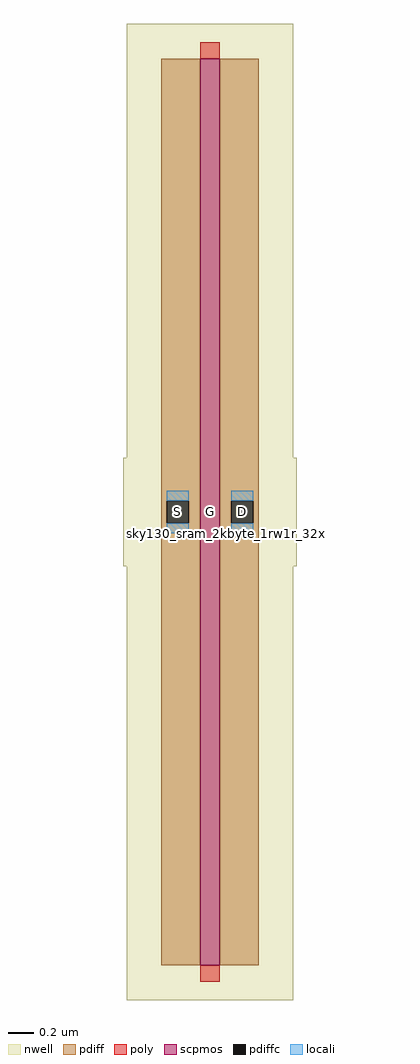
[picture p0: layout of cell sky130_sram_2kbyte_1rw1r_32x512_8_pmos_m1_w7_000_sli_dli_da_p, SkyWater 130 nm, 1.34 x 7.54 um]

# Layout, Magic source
magic
tech sky130A
magscale 1 2
<< nwell >>
rect -54 784 204 1454
rect -59 616 209 784
rect -54 -54 204 616
<< scpmos >>
rect 60 0 90 1400
<< pdiff >>
rect 0 717 60 1400
rect 0 683 8 717
rect 42 683 60 717
rect 0 0 60 683
rect 90 717 150 1400
rect 90 683 108 717
rect 142 683 150 717
rect 90 0 150 683
<< pdiffc >>
rect 8 683 42 717
rect 108 683 142 717
<< poly >>
rect 60 1400 90 1426
rect 60 -26 90 0
<< locali >>
rect 8 717 42 733
rect 8 667 42 683
rect 108 717 142 733
rect 108 667 142 683
use sky130_sram_2kbyte_1rw1r_32x512_8_contact_12  sky130_sram_2kbyte_1rw1r_32x512_8_contact_12_0
transform 1 0 100 0 1 667
box 0 0 1 1
use sky130_sram_2kbyte_1rw1r_32x512_8_contact_12  sky130_sram_2kbyte_1rw1r_32x512_8_contact_12_1
transform 1 0 0 0 1 667
box 0 0 1 1
<< labels >>
rlabel locali s 25 700 25 700 4 S
port 1 nsew
rlabel locali s 125 700 125 700 4 D
port 2 nsew
rlabel poly s 75 700 75 700 4 G
port 3 nsew
<< properties >>
string FIXED_BBOX -54 -54 204 616
string GDS_FILE $PDKPATH/libs.ref/sky130_sram_macros/gds/sky130_sram_2kbyte_1rw1r_32x512_8.gds
string GDS_END 9932
string GDS_START 9072
<< end >>
